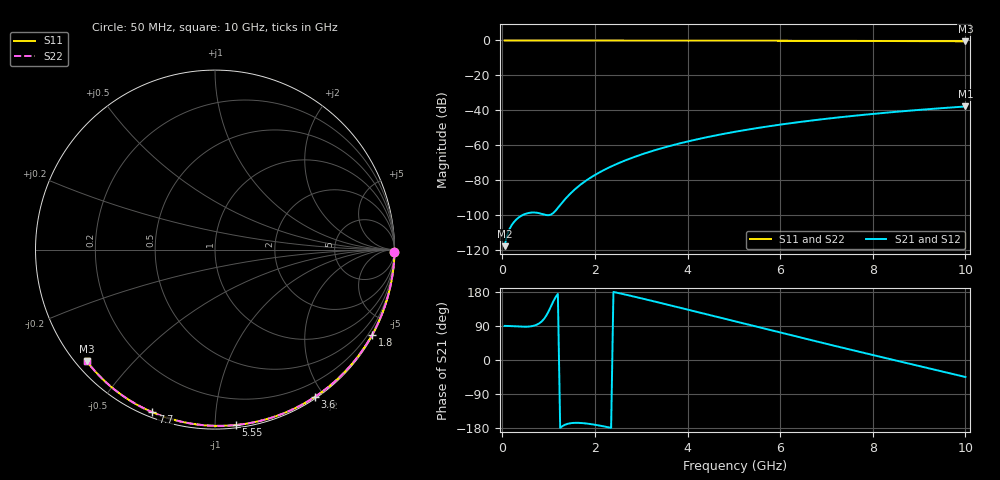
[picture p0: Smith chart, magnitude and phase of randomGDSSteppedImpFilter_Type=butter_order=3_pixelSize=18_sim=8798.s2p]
! freq	dB(S11)	phase(S11)	dB(S12)	phase(S12)
!  dB(S21)	phase(S21)	dB(S22)	phase(S22)
!S-par simulation data
#  GHz  S  DB  R 50
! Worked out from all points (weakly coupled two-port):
!   200 points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, 50 MHz to 10 GHz, reference 50 ohm
!   highest |S21| = -37.80 dB at 10 GHz (marker M1); lowest = -117.8 dB at 50 MHz (marker M2)
!   lowest |S11| = -0.5 dB at 10 GHz (marker M3), VSWR 36.77, Z = 1.55 - j18.6 ohm
!   |S11| at or under -10 dB: nowhere
!   |S22| runs from -0.5 to 0.0 dB; largest |S21 - S12| = 0
!   S11 on the Smith chart (normalised r, x): 50 MHz: open; 1.8 GHz: 0.03, -3.92; 3.6 GHz: 0.02, -1.89; 5.55 GHz: 0.02, -1.13; 7.7 GHz: 0.02, -0.69; 10 GHz: 0.03, -0.37
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0.05  -0.00 -0.8  -117.77 90.0  -117.77 90.0  -0.00 -0.8
0.45  -0.01 -7.3  -99.81 87.8  -99.81 87.8  -0.01 -7.3
0.9  -0.02 -14.4  -99.65 108.2  -99.65 108.2  -0.02 -14.4
1.75  -0.04 -27.8  -81.35 -166.7  -81.35 -166.7  -0.04 -27.8
1.8  -0.04 -28.6  -80.41 -167.4  -80.41 -167.4  -0.04 -28.6
1.85  -0.04 -29.4  -79.51 -168.1  -79.51 -168.1  -0.04 -29.4
2.05  -0.04 -32.5  -76.25 -171.9  -76.25 -171.9  -0.04 -32.5
2.2  -0.04 -34.8  -74.11 -175.3  -74.11 -175.3  -0.04 -34.8
2.55  -0.05 -40.1  -69.81 175.6  -69.81 175.6  -0.05 -40.1
2.95  -0.06 -46.2  -65.78 164.3  -65.78 164.3  -0.06 -46.2
3.4  -0.07 -52.9  -62.00 151.1  -62.00 151.1  -0.07 -52.9
3.6  -0.08 -55.8  -60.52 145.1  -60.52 145.1  -0.08 -55.8
3.9  -0.08 -60.2  -58.48 136.1  -58.48 136.1  -0.08 -60.2
4.3  -0.09 -65.9  -56.05 123.9  -56.05 123.9  -0.09 -65.9
5.05  -0.12 -76.4  -52.16 101.2  -52.16 101.2  -0.12 -76.4
5.55  -0.14 -83.2  -49.96 86.0  -49.96 86.0  -0.14 -83.2
6.1  -0.16 -90.6  -47.82 69.5  -47.82 69.5  -0.16 -90.6
6.7  -0.19 -98.4  -45.76 51.5  -45.76 51.5  -0.19 -98.4
7.7  -0.25 -111.0  -42.84 22.0  -42.84 22.0  -0.25 -111.0
8.35  -0.31 -119.1  -41.21 3.0  -41.21 3.0  -0.31 -119.1
9.2  -0.38 -129.4  -39.33 -21.6  -39.33 -21.6  -0.38 -129.4
10  -0.47 -139.1  -37.80 -44.8  -37.80 -44.8  -0.47 -139.1
